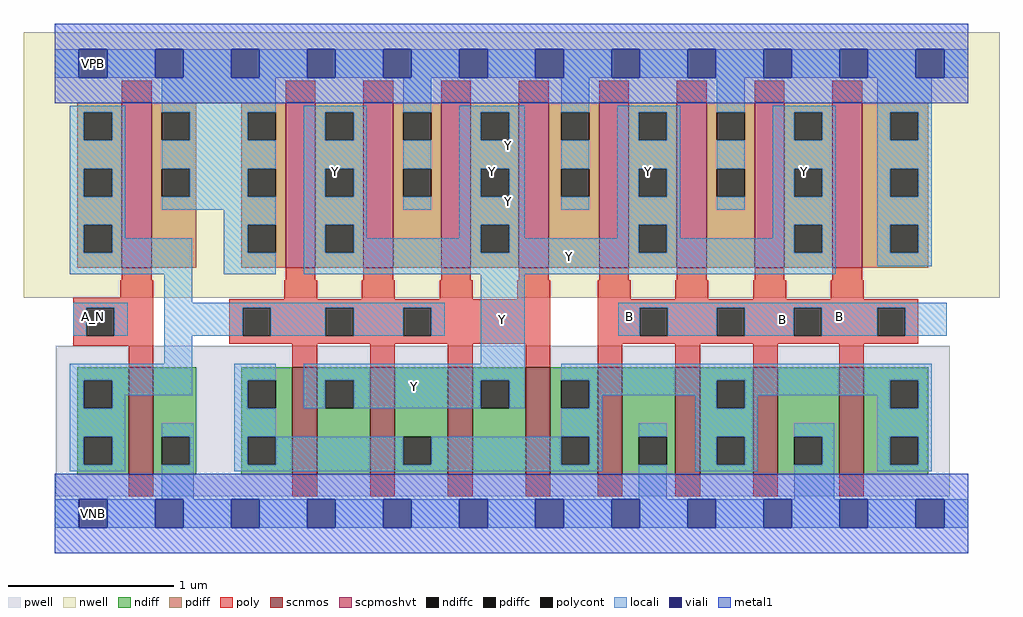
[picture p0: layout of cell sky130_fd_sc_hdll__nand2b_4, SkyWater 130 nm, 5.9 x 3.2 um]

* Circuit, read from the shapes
.subckt sky130_fd_sc_hdll__nand2b_4 A_N B VGND VNB VPB VPWR Y
XM1 VGND A_N n1 VNB sky130_fd_pr__nfet_01v8 w=0.65 l=0.15
XM2 Y n1 n2 VNB sky130_fd_pr__nfet_01v8 w=0.65 l=0.15 m=4
XM3 VGND B n2 VNB sky130_fd_pr__nfet_01v8 w=0.65 l=0.15 m=4
XM4 VPWR A_N n1 VPB sky130_fd_pr__pfet_01v8_hvt w=1 l=0.18
XM5 Y n1 VPWR VPB sky130_fd_pr__pfet_01v8_hvt w=1 l=0.18 m=4
XM6 Y B VPWR VPB sky130_fd_pr__pfet_01v8_hvt w=1 l=0.18 m=4
.ends

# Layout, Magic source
magic
tech sky130A
magscale 1 2
<< nwell >>
rect -38 261 1142 582
<< pwell >>
rect 1 21 1082 203
rect 30 -17 64 21
<< scnmos >>
rect 89 47 119 177
rect 287 47 317 177
rect 381 47 411 177
rect 475 47 505 177
rect 569 47 599 177
rect 656 47 686 177
rect 750 47 780 177
rect 844 47 874 177
rect 948 47 978 177
<< scpmoshvt >>
rect 81 297 117 497
rect 279 297 315 497
rect 373 297 409 497
rect 467 297 503 497
rect 561 297 597 497
rect 658 297 694 497
rect 752 297 788 497
rect 846 297 882 497
rect 940 297 976 497
<< ndiff >>
rect 27 161 89 177
rect 27 127 35 161
rect 69 127 89 161
rect 27 93 89 127
rect 27 59 35 93
rect 69 59 89 93
rect 27 47 89 59
rect 119 93 171 177
rect 119 59 129 93
rect 163 59 171 93
rect 119 47 171 59
rect 225 161 287 177
rect 225 127 233 161
rect 267 127 287 161
rect 225 93 287 127
rect 225 59 233 93
rect 267 59 287 93
rect 225 47 287 59
rect 317 161 381 177
rect 317 127 327 161
rect 361 127 381 161
rect 317 47 381 127
rect 411 93 475 177
rect 411 59 421 93
rect 455 59 475 93
rect 411 47 475 59
rect 505 161 569 177
rect 505 127 515 161
rect 549 127 569 161
rect 505 47 569 127
rect 599 161 656 177
rect 599 127 612 161
rect 646 127 656 161
rect 599 93 656 127
rect 599 59 612 93
rect 646 59 656 93
rect 599 47 656 59
rect 686 93 750 177
rect 686 59 706 93
rect 740 59 750 93
rect 686 47 750 59
rect 780 161 844 177
rect 780 127 800 161
rect 834 127 844 161
rect 780 93 844 127
rect 780 59 800 93
rect 834 59 844 93
rect 780 47 844 59
rect 874 93 948 177
rect 874 59 894 93
rect 928 59 948 93
rect 874 47 948 59
rect 978 161 1056 177
rect 978 127 1010 161
rect 1044 127 1056 161
rect 978 93 1056 127
rect 978 59 1010 93
rect 1044 59 1056 93
rect 978 47 1056 59
<< pdiff >>
rect 27 485 81 497
rect 27 451 35 485
rect 69 451 81 485
rect 27 417 81 451
rect 27 383 35 417
rect 69 383 81 417
rect 27 349 81 383
rect 27 315 35 349
rect 69 315 81 349
rect 27 297 81 315
rect 117 485 171 497
rect 117 451 129 485
rect 163 451 171 485
rect 117 417 171 451
rect 117 383 129 417
rect 163 383 171 417
rect 117 297 171 383
rect 225 485 279 497
rect 225 451 233 485
rect 267 451 279 485
rect 225 417 279 451
rect 225 383 233 417
rect 267 383 279 417
rect 225 349 279 383
rect 225 315 233 349
rect 267 315 279 349
rect 225 297 279 315
rect 315 485 373 497
rect 315 451 327 485
rect 361 451 373 485
rect 315 417 373 451
rect 315 383 327 417
rect 361 383 373 417
rect 315 349 373 383
rect 315 315 327 349
rect 361 315 373 349
rect 315 297 373 315
rect 409 485 467 497
rect 409 451 421 485
rect 455 451 467 485
rect 409 417 467 451
rect 409 383 421 417
rect 455 383 467 417
rect 409 297 467 383
rect 503 485 561 497
rect 503 451 515 485
rect 549 451 561 485
rect 503 417 561 451
rect 503 383 515 417
rect 549 383 561 417
rect 503 349 561 383
rect 503 315 515 349
rect 549 315 561 349
rect 503 297 561 315
rect 597 485 658 497
rect 597 451 612 485
rect 646 451 658 485
rect 597 417 658 451
rect 597 383 612 417
rect 646 383 658 417
rect 597 297 658 383
rect 694 485 752 497
rect 694 451 706 485
rect 740 451 752 485
rect 694 417 752 451
rect 694 383 706 417
rect 740 383 752 417
rect 694 349 752 383
rect 694 315 706 349
rect 740 315 752 349
rect 694 297 752 315
rect 788 485 846 497
rect 788 451 800 485
rect 834 451 846 485
rect 788 417 846 451
rect 788 383 800 417
rect 834 383 846 417
rect 788 297 846 383
rect 882 485 940 497
rect 882 451 894 485
rect 928 451 940 485
rect 882 417 940 451
rect 882 383 894 417
rect 928 383 940 417
rect 882 349 940 383
rect 882 315 894 349
rect 928 315 940 349
rect 882 297 940 315
rect 976 485 1056 497
rect 976 451 1010 485
rect 1044 451 1056 485
rect 976 417 1056 451
rect 976 383 1010 417
rect 1044 383 1056 417
rect 976 349 1056 383
rect 976 315 1010 349
rect 1044 315 1056 349
rect 976 297 1056 315
<< ndiffc >>
rect 35 127 69 161
rect 35 59 69 93
rect 129 59 163 93
rect 233 127 267 161
rect 233 59 267 93
rect 327 127 361 161
rect 421 59 455 93
rect 515 127 549 161
rect 612 127 646 161
rect 612 59 646 93
rect 706 59 740 93
rect 800 127 834 161
rect 800 59 834 93
rect 894 59 928 93
rect 1010 127 1044 161
rect 1010 59 1044 93
<< pdiffc >>
rect 35 451 69 485
rect 35 383 69 417
rect 35 315 69 349
rect 129 451 163 485
rect 129 383 163 417
rect 233 451 267 485
rect 233 383 267 417
rect 233 315 267 349
rect 327 451 361 485
rect 327 383 361 417
rect 327 315 361 349
rect 421 451 455 485
rect 421 383 455 417
rect 515 451 549 485
rect 515 383 549 417
rect 515 315 549 349
rect 612 451 646 485
rect 612 383 646 417
rect 706 451 740 485
rect 706 383 740 417
rect 706 315 740 349
rect 800 451 834 485
rect 800 383 834 417
rect 894 451 928 485
rect 894 383 928 417
rect 894 315 928 349
rect 1010 451 1044 485
rect 1010 383 1044 417
rect 1010 315 1044 349
<< poly >>
rect 81 497 117 523
rect 279 497 315 523
rect 373 497 409 523
rect 467 497 503 523
rect 561 497 597 523
rect 658 497 694 523
rect 752 497 788 523
rect 846 497 882 523
rect 940 497 976 523
rect 81 282 117 297
rect 279 282 315 297
rect 373 282 409 297
rect 467 282 503 297
rect 561 282 597 297
rect 658 282 694 297
rect 752 282 788 297
rect 846 282 882 297
rect 940 282 976 297
rect 79 261 119 282
rect 22 249 119 261
rect 277 259 317 282
rect 371 259 411 282
rect 465 259 505 282
rect 559 259 599 282
rect 22 215 38 249
rect 72 215 119 249
rect 22 203 119 215
rect 211 249 599 259
rect 211 215 227 249
rect 261 215 327 249
rect 361 215 421 249
rect 455 215 599 249
rect 211 205 599 215
rect 89 177 119 203
rect 287 177 317 205
rect 381 177 411 205
rect 475 177 505 205
rect 569 177 599 205
rect 656 259 696 282
rect 750 259 790 282
rect 844 259 884 282
rect 938 259 978 282
rect 656 249 1044 259
rect 656 215 707 249
rect 741 215 800 249
rect 834 215 893 249
rect 927 215 994 249
rect 1028 215 1044 249
rect 656 205 1044 215
rect 656 177 686 205
rect 750 177 780 205
rect 844 177 874 205
rect 948 177 978 205
rect 89 21 119 47
rect 287 21 317 47
rect 381 21 411 47
rect 475 21 505 47
rect 569 21 599 47
rect 656 21 686 47
rect 750 21 780 47
rect 844 21 874 47
rect 948 21 978 47
<< polycont >>
rect 38 215 72 249
rect 227 215 261 249
rect 327 215 361 249
rect 421 215 455 249
rect 707 215 741 249
rect 800 215 834 249
rect 893 215 927 249
rect 994 215 1028 249
<< locali >>
rect 0 527 29 561
rect 63 527 121 561
rect 155 527 213 561
rect 247 527 305 561
rect 339 527 397 561
rect 431 527 489 561
rect 523 527 581 561
rect 615 527 673 561
rect 707 527 765 561
rect 799 527 857 561
rect 891 527 949 561
rect 983 527 1041 561
rect 1075 527 1104 561
rect 18 485 85 493
rect 18 451 35 485
rect 69 451 85 485
rect 18 417 85 451
rect 18 383 35 417
rect 69 383 85 417
rect 18 349 85 383
rect 129 485 267 527
rect 163 451 233 485
rect 129 417 267 451
rect 163 383 233 417
rect 129 367 267 383
rect 18 315 35 349
rect 69 333 85 349
rect 204 349 267 367
rect 69 315 166 333
rect 18 289 166 315
rect 204 315 233 349
rect 204 289 267 315
rect 301 485 377 493
rect 301 451 327 485
rect 361 451 377 485
rect 301 417 377 451
rect 301 383 327 417
rect 361 383 377 417
rect 301 349 377 383
rect 421 485 455 527
rect 421 417 455 451
rect 421 367 455 383
rect 489 485 568 493
rect 489 451 515 485
rect 549 451 568 485
rect 489 417 568 451
rect 489 383 515 417
rect 549 383 568 417
rect 301 315 327 349
rect 361 333 377 349
rect 489 349 568 383
rect 612 485 646 527
rect 612 417 646 451
rect 612 367 646 383
rect 680 485 756 493
rect 680 451 706 485
rect 740 451 756 485
rect 680 417 756 451
rect 680 383 706 417
rect 740 383 756 417
rect 489 333 515 349
rect 361 315 515 333
rect 549 333 568 349
rect 680 349 756 383
rect 800 485 834 527
rect 800 417 834 451
rect 800 367 834 383
rect 868 485 944 493
rect 868 451 894 485
rect 928 451 944 485
rect 868 417 944 451
rect 868 383 894 417
rect 928 383 944 417
rect 680 333 706 349
rect 549 315 706 333
rect 740 333 756 349
rect 868 349 944 383
rect 868 333 894 349
rect 740 315 894 333
rect 928 315 944 349
rect 301 289 944 315
rect 994 485 1060 527
rect 994 451 1010 485
rect 1044 451 1060 485
rect 994 417 1060 451
rect 994 383 1010 417
rect 1044 383 1060 417
rect 994 349 1060 383
rect 994 315 1010 349
rect 1044 315 1060 349
rect 994 299 1060 315
rect 132 255 166 289
rect 22 249 88 255
rect 22 215 38 249
rect 72 215 88 249
rect 132 249 471 255
rect 132 215 227 249
rect 261 215 327 249
rect 361 215 421 249
rect 455 215 471 249
rect 132 181 166 215
rect 515 181 568 289
rect 681 249 1078 255
rect 681 215 707 249
rect 741 215 800 249
rect 834 215 893 249
rect 927 215 994 249
rect 1028 215 1078 249
rect 18 161 166 181
rect 18 127 35 161
rect 69 143 166 161
rect 217 161 267 181
rect 69 127 85 143
rect 18 93 85 127
rect 217 127 233 161
rect 301 161 568 181
rect 301 127 327 161
rect 361 127 515 161
rect 549 127 568 161
rect 612 161 1060 181
rect 646 143 800 161
rect 646 127 662 143
rect 18 59 35 93
rect 69 59 85 93
rect 18 51 85 59
rect 129 93 168 109
rect 163 59 168 93
rect 129 17 168 59
rect 217 93 267 127
rect 612 93 662 127
rect 774 127 800 143
rect 834 143 1010 161
rect 834 127 850 143
rect 217 59 233 93
rect 267 59 421 93
rect 455 59 612 93
rect 646 59 662 93
rect 217 51 662 59
rect 706 93 740 109
rect 706 17 740 59
rect 774 93 850 127
rect 994 127 1010 143
rect 1044 127 1060 161
rect 774 59 800 93
rect 834 59 850 93
rect 774 51 850 59
rect 894 93 942 109
rect 928 59 942 93
rect 894 17 942 59
rect 994 93 1060 127
rect 994 59 1010 93
rect 1044 59 1060 93
rect 994 51 1060 59
rect 0 -17 29 17
rect 63 -17 121 17
rect 155 -17 213 17
rect 247 -17 305 17
rect 339 -17 397 17
rect 431 -17 489 17
rect 523 -17 581 17
rect 615 -17 673 17
rect 707 -17 765 17
rect 799 -17 857 17
rect 891 -17 949 17
rect 983 -17 1041 17
rect 1075 -17 1104 17
<< viali >>
rect 29 527 63 561
rect 121 527 155 561
rect 213 527 247 561
rect 305 527 339 561
rect 397 527 431 561
rect 489 527 523 561
rect 581 527 615 561
rect 673 527 707 561
rect 765 527 799 561
rect 857 527 891 561
rect 949 527 983 561
rect 1041 527 1075 561
rect 29 -17 63 17
rect 121 -17 155 17
rect 213 -17 247 17
rect 305 -17 339 17
rect 397 -17 431 17
rect 489 -17 523 17
rect 581 -17 615 17
rect 673 -17 707 17
rect 765 -17 799 17
rect 857 -17 891 17
rect 949 -17 983 17
rect 1041 -17 1075 17
<< metal1 >>
rect 0 561 1104 592
rect 0 527 29 561
rect 63 527 121 561
rect 155 527 213 561
rect 247 527 305 561
rect 339 527 397 561
rect 431 527 489 561
rect 523 527 581 561
rect 615 527 673 561
rect 707 527 765 561
rect 799 527 857 561
rect 891 527 949 561
rect 983 527 1041 561
rect 1075 527 1104 561
rect 0 496 1104 527
rect 0 17 1104 48
rect 0 -17 29 17
rect 63 -17 121 17
rect 155 -17 213 17
rect 247 -17 305 17
rect 339 -17 397 17
rect 431 -17 489 17
rect 523 -17 581 17
rect 615 -17 673 17
rect 707 -17 765 17
rect 799 -17 857 17
rect 891 -17 949 17
rect 983 -17 1041 17
rect 1075 -17 1104 17
rect 0 -48 1104 -17
<< labels >>
flabel locali s 681 215 1078 255 0 FreeSans 250 0 0 0 B
port 2 nsew signal input
flabel locali s 949 238 949 238 0 FreeSans 250 0 0 0 B
port 2 nsew
flabel locali s 858 221 892 255 0 FreeSans 250 0 0 0 B
port 2 nsew
flabel locali s 695 238 695 238 0 FreeSans 250 0 0 0 B
port 2 nsew
flabel locali s 30 221 64 255 0 FreeSans 250 0 0 0 A_N
port 1 nsew signal input
flabel locali s 868 333 944 493 0 FreeSans 250 0 0 0 Y
port 7 nsew signal output
flabel locali s 548 377 548 377 0 FreeSans 250 0 0 0 Y
port 7 nsew
flabel locali s 548 445 548 445 0 FreeSans 250 0 0 0 Y
port 7 nsew
flabel pwell s 30 -17 64 17 0 FreeSans 200 0 0 0 VNB
port 4 nsew ground bidirectional
flabel nwell s 30 527 64 561 0 FreeSans 200 0 0 0 VPB
port 5 nsew power bidirectional
flabel metal1 s 30 -17 64 17 0 FreeSans 200 0 0 0 VGND
port 3 nsew ground bidirectional
flabel metal1 s 30 527 64 561 0 FreeSans 200 0 0 0 VPWR
port 6 nsew power bidirectional
rlabel comment s 0 0 0 0 4 nand2b_4
rlabel locali s 680 333 756 493 1 Y
port 7 nsew signal output
rlabel locali s 515 181 568 289 1 Y
port 7 nsew signal output
rlabel locali s 489 333 568 493 1 Y
port 7 nsew signal output
rlabel locali s 301 333 377 493 1 Y
port 7 nsew signal output
rlabel locali s 301 289 944 333 1 Y
port 7 nsew signal output
rlabel locali s 301 127 568 181 1 Y
port 7 nsew signal output
<< properties >>
string LEFsite unithd
string LEFclass CORE
string FIXED_BBOX 0 0 1104 544
string GDS_FILE $PDKPATH/libs.ref/sky130_fd_sc_hdll/gds/sky130_fd_sc_hdll.gds
string LEFsymmetry X Y R90
string GDS_END 2223138
string GDS_START 2213762
string LEFproperties maskLayoutSubType "abstract" prCellType "standard" originalViewName "layout"
<< end >>
